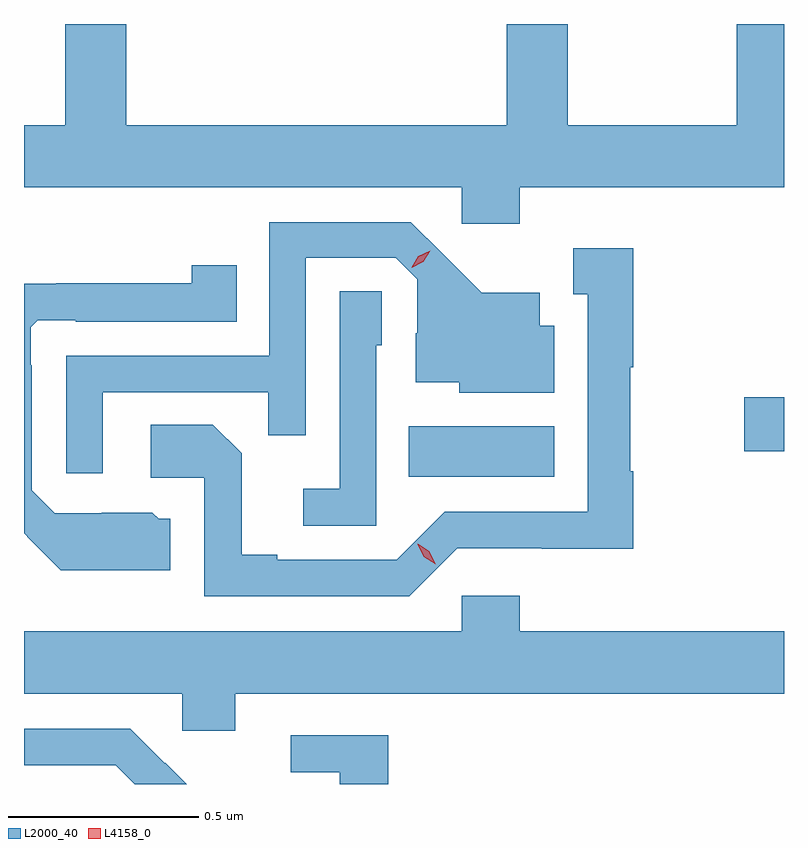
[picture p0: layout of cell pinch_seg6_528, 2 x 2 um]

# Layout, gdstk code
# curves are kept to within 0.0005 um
import gdstk
lib = gdstk.Library(unit=1e-6, precision=1e-09)
def R(c, l, rs):  # rectangles x0, y0, x1, y1
    for r in rs: c.add(gdstk.rectangle(r[:2], r[2:], *l))
def P(c, l, *ps):  # polygons
    for p in ps: c.add(gdstk.Polygon(p, *l))
L2000_40 = (2000, 40)
L4158_0 = (4158, 0)

pinch_seg6_528 = lib.new_cell('pinch_seg6_528')
R(pinch_seg6_528, L2000_40, [(771.4,934.586,771.784,934.72), (772.284,934.654,772.388,934.796)])
P(pinch_seg6_528, L2000_40, [(771.692,935.348),(772.388,935.348),(772.388,935.778),(772.264,935.778),(772.264,935.512),(771.819,935.512),(771.819,935.778),(771.659,935.778),(771.659,935.512),(770.657,935.512),(770.657,935.778),(770.497,935.778),(770.497,935.512),(770.388,935.512),(770.388,935.348),(771.54,935.348),(771.54,935.253),(771.692,935.253)],
  [(770.595,934.809),(771.031,934.809),(771.031,934.696),(771.129,934.696),(771.129,935.163),(771.366,935.163),(771.423,935.106),(771.423,934.964),(771.419,934.964),(771.419,934.835),(771.534,934.835),(771.534,934.808),(771.784,934.808),(771.784,934.984),(771.745,934.984),(771.745,935.071),(771.593,935.071),(771.406,935.256),(771.033,935.256),(771.033,934.905),(770.499,934.905),(770.499,934.596),(770.595,934.596)],
  [(771.528,934.398),(771.75,934.398),(771.75,934.397),(771.991,934.397),(771.991,934.601),(771.983,934.601),(771.983,934.875),(771.991,934.875),(771.991,935.188),(771.833,935.188),(771.833,935.067),(771.872,935.067),(771.872,934.494),(771.495,934.494),(771.369,934.368),(771.055,934.368),(771.055,934.381),(770.961,934.381),(770.961,934.648),(770.885,934.724),(770.721,934.724),(770.721,934.584),(770.862,934.584),(770.862,934.272),(771.402,934.272)],
  [(770.773,934.476),(770.742,934.476),(770.726,934.492),(770.592,934.492),(770.592,934.491),(770.469,934.491),(770.409,934.551),(770.409,934.88),(770.406,934.88),(770.406,934.98),(770.424,934.998),(770.524,934.998),(770.524,934.995),(770.948,934.995),(770.948,935.143),(770.83,935.143),(770.83,935.096),(770.473,935.096),(770.473,935.095),(770.388,935.095),(770.388,934.438),(770.485,934.34),(770.773,934.34)],
  [(771.315,934.932),(771.33,934.932),(771.33,935.075),(771.219,935.075),(771.219,934.555),(771.123,934.555),(771.123,934.458),(771.315,934.458)],
  [(770.944,934.016),(772.388,934.016),(772.388,934.18),(771.692,934.18),(771.692,934.273),(771.54,934.273),(771.54,934.18),(770.388,934.18),(770.388,934.016),(770.805,934.016),(770.805,933.918),(770.944,933.918)],
  [(770.76,933.834),(770.759,933.833),(770.668,933.924),(770.388,933.924),(770.388,933.828),(770.629,933.828),(770.679,933.778),(770.816,933.778)],
  [(771.347,933.906),(771.09,933.906),(771.09,933.809),(771.219,933.809),(771.219,933.778),(771.347,933.778)])
P(pinch_seg6_528, L4158_0, [(771.471,934.356),(771.44,934.376),(771.424,934.409),(771.424,934.41),(771.424,934.41),(771.455,934.39),(771.472,934.356),(771.472,934.356)],
  [(771.408,935.137),(771.408,935.138),(771.426,935.167),(771.457,935.181),(771.457,935.181),(771.457,935.181),(771.439,935.152),(771.409,935.137)])

lib.write_gds('pinch_seg6_528.gds')
